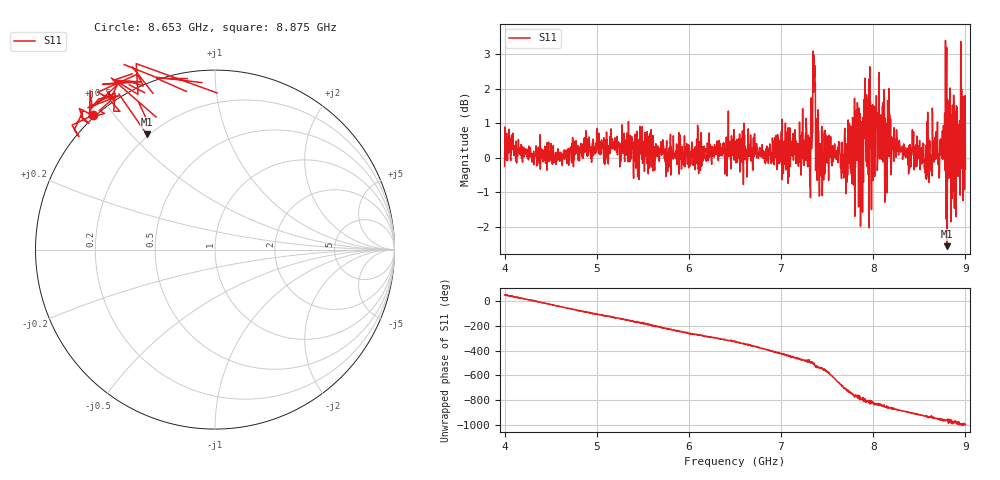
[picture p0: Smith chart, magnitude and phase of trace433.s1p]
! Created with skrf 1.8.0 (http://scikit-rf.org).
# Hz S RI R 50.0
!freq ReS11 ImS11
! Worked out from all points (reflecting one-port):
!   1601 points, 4 GHz to 9 GHz, reference 50 ohm
!   lowest |S11| = -2.6 dB at 8.803 GHz (marker M1), VSWR 6.85, Z = 9.6 + j27.7 ohm
!   phase of S11 starts at 50 deg and turns -1047 deg over the sweep
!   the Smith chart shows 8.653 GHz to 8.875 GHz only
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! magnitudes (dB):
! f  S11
! 4 GHz  -0.2
! 4.066 GHz  -0.1
! 4.625 GHz  -0.2
! 5.25 GHz  -0.3
! 5.875 GHz  0.2
! 6.5 GHz  0.5
! 7.125 GHz  0.0
! 7.309 GHz  0.0
! 7.347 GHz  3.1
! 7.372 GHz  2.2
! 7.4 GHz  1.4
! 7.438 GHz  -0.1
! 7.488 GHz  0.3
! 7.659 GHz  0.4
! 7.75 GHz  0.1
! 7.816 GHz  0.2
! 7.834 GHz  0.7
! 7.866 GHz  0.3
! 7.928 GHz  1.8
! 7.981 GHz  -1.5
! 7.988 GHz  1.5
! 8.097 GHz  0.2
! 8.375 GHz  0.1
! 8.581 GHz  -0.2
! 8.803 GHz  -2.6
! 8.856 GHz  -1.2
! 8.972 GHz  0.4
! 9 GHz  -0.3
